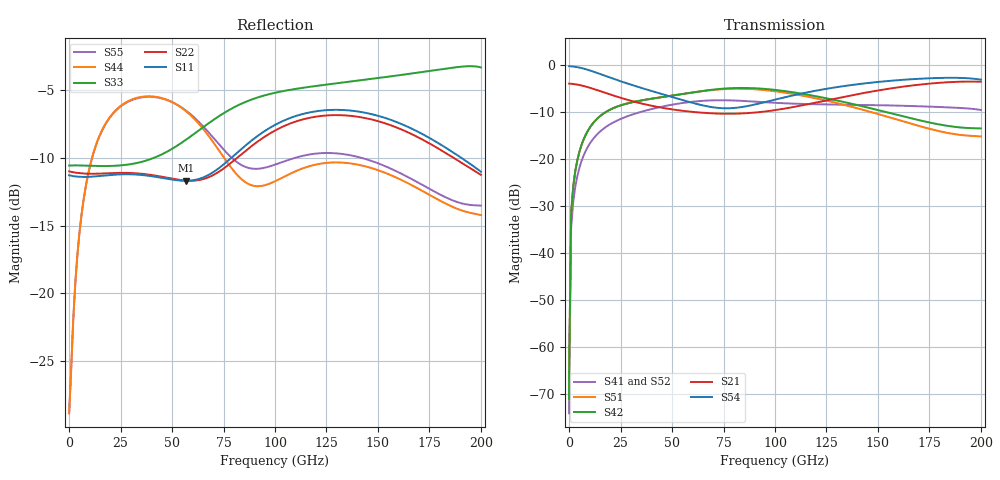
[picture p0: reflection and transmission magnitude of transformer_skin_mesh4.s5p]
! Created with skrf 2.2.0 (http://scikit-rf.org).
# GHz S DB R 50.0
! Port[1] = P1
! Port[2] = P2
! Port[3] = P3
! Port[4] = P4
! Port[5] = P5
!freq dBS11 angS11 dBS12 angS12 dBS13 angS13
! dBS14 angS14 dBS15 angS15
! dBS21 angS21 dBS22 angS22 dBS23 angS23
! dBS24 angS24 dBS25 angS25
! dBS31 angS31 dBS32 angS32 dBS33 angS33
! dBS34 angS34 dBS35 angS35
! dBS41 angS41 dBS42 angS42 dBS43 angS43
! dBS44 angS44 dBS45 angS45
! dBS51 angS51 dBS52 angS52 dBS53 angS53
! dBS54 angS54 dBS55 angS55
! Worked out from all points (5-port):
!   202 points, 10 MHz to 200 GHz, reference 50 ohm
!   strongest paths, dB at 10 MHz, 49 GHz, 100 GHz, 150 GHz, 200 GHz:
!     S54: -0.3, -6.8, -7.4, -3.7, -3.2
!     S21: -4.0, -9.4, -9.7, -5.5, -3.6
!     S42: -71.2, -6.6, -5.4, -9.7, -13.6
!     S51: -71.2, -6.6, -5.6, -10.5, -15.3
!     S41: -74.1, -8.6, -8.1, -8.6, -9.6
!     S52: -74.1, -8.6, -8.1, -8.8, -9.9
!   lowest |S11| = -11.7 dB at 57 GHz (marker M1), VSWR 1.70, Z = 71.7 + j23.9 ohm
!   |S11| at or under -10 dB: start of sweep to 78.8 GHz; 190.5 GHz to end of sweep
